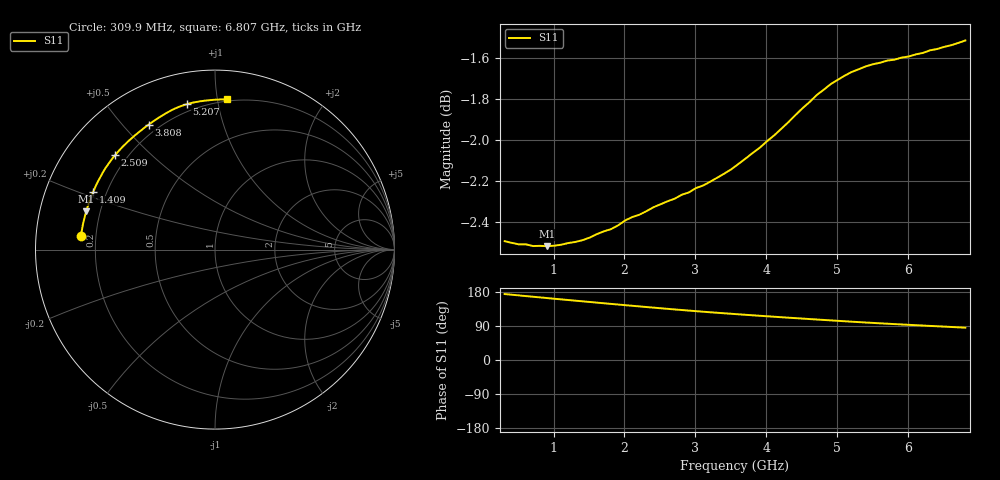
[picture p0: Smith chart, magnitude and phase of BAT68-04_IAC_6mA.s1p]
! Infineon Technologies  Discrete & RF Semiconductors
! BAT68-04
! IAC = 6 mA
! One-Port S-Parameters
# Hz  S  MA  R  50
!f  S11
!Hz  Mag  Ang
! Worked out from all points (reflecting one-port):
!   66 points, 309.9 MHz to 6.807 GHz, reference 50 ohm
!   lowest |S11| = -2.5 dB at 909.5 MHz (marker M1), VSWR 6.95, Z = 7.35 + j7.13 ohm
!   phase of S11 starts at 174 deg and turns -89 deg over the sweep
!   S11 on the Smith chart (normalised r, x): 309.9 MHz: 0.14, +0.05; 1.409 GHz: 0.15, +0.22; 2.509 GHz: 0.15, +0.39; 3.808 GHz: 0.16, +0.59; 5.207 GHz: 0.16, +0.81; 6.807 GHz: 0.19, +1.07
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3.0985e8  0.7504 174.1
6.097e8  0.7491 168.6
9.0955e8  0.7483 163.4
1.0095e9  0.7485 161.6
1.2094e9  0.7497 158.2
1.4093e9  0.7509 154.8
1.50925e9  0.7519 153.2
1.70915e9  0.7546 149.7
2.009e9  0.7592 144.7
2.4088e9  0.7649 138.2
2.50875e9  0.7661 136.5
2.8086e9  0.7702 131.9
3.0085e9  0.7732 128.9
3.2084e9  0.7759 126.0
3.6082e9  0.7837 120.6
3.8081e9  0.7885 118.0
4.008e9  0.7937 115.4
4.4078e9  0.8053 110.5
4.70765e9  0.8145 106.9
4.8076e9  0.8169 105.7
5.0075e9  0.8216 103.4
5.2074e9  0.8252 101.1
5.4073e9  0.8278 98.8
5.50725e9  0.8288 97.8
5.6072e9  0.8295 96.7
6.007e9  0.8323 92.8
6.30685e9  0.8352 90.0
6.8066e9  0.8399 85.3
